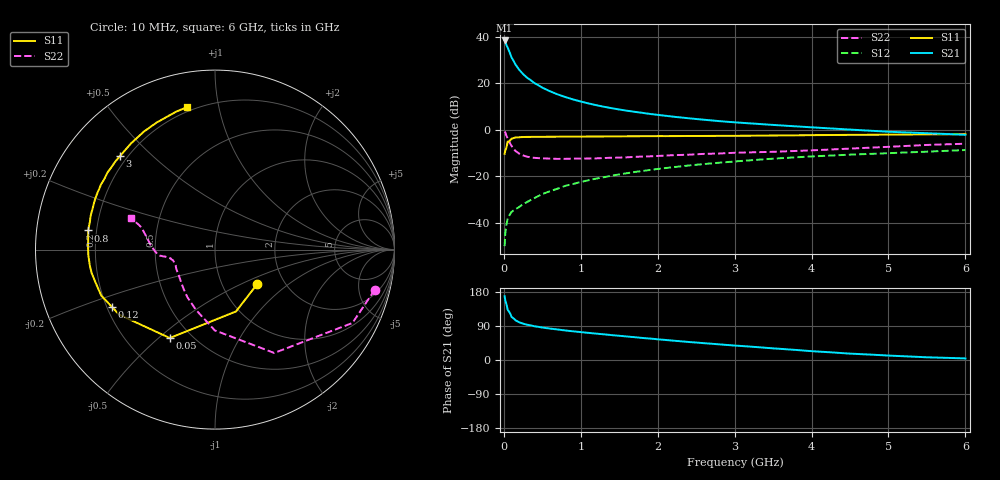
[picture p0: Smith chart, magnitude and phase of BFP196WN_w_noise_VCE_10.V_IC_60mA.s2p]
! Infineon Technologies  Discrete & RF Semiconductors
! BFP196WN
! VCE =  10. V,  IC =  60 mA
! Common Emitter S-Parameters:  Jan 2017
# GHz  S  MA  R  50
!  f  S11  S21  S12  S22
! GHz  MAG  ANG  MAG  ANG  MAG  ANG  MAG  ANG
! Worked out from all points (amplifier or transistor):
!   77 points, 10 MHz to 6 GHz, reference 50 ohm
!   highest |S21| = 38.5 dB at 10 MHz (marker M1)
!   |S21| within 3 dB of that: start of sweep to 47.99 MHz
!   unconditionally stable (mu >= 1): 624.7 MHz to 2.606 GHz
!   at 130 MHz: K = 0.55, MSG = 32.1 dB, |S12| = -34.7 dB
!   at 2.2 GHz: K = 1.02, MAG = 10.0 dB, |S12| = -16.1 dB
!   at 6 GHz: K = 0.90, MSG = 3.3 dB, |S12| = -8.7 dB
!   lowest NFmin = 1.38 dB at 450 MHz
!   S11 on the Smith chart (normalised r, x): 10 MHz: 1.46, -0.62; 50 MHz: 0.38, -0.54; 120 MHz: 0.22, -0.25; 800 MHz: 0.17, +0.07; 3 GHz: 0.17, +0.40; 6 GHz: 0.18, +0.81
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0.01  0.3037 -39.5  84.44 168.2  0.0031 78.2  0.918 -14.1
0.02  0.3638 -71.2  77.38 156.5  0.0062 69.5  0.8681 -28.1
0.05  0.5534 -117.1  58.84 132.4  0.0122 53.1  0.6638 -60.2
0.1  0.6449 -145.8  36.37 113.6  0.017 50.4  0.45 -90.2
0.12  0.6568 -150.8  32.05 110.8  0.018 50.0  0.4061 -96.2
0.15  0.6836 -158.0  25.78 104.9  0.0194 49.5  0.351 -107.8
0.2  0.6908 -164.8  19.7 99.6  0.0217 53.5  0.3067 -120.1
0.25  0.6995 -169.2  15.92 95.9  0.0251 56.0  0.281 -128.4
0.3  0.7029 -172.6  13.36 93.2  0.0276 56.9  0.2632 -135.4
0.4  0.7065 -177.4  10.11 88.9  0.0339 62.5  0.2484 -144.1
0.5  0.7073 179.1  8.11 85.7  0.0411 64.9  0.2429 -150.5
0.6  0.7083 176.3  6.778 82.9  0.0475 66.2  0.2395 -155.0
0.7  0.7108 173.8  5.803 80.5  0.0539 67.7  0.2363 -158.0
0.8  0.7147 171.4  5.086 77.9  0.062 68.7  0.2369 -160.1
1.1  0.7172 165.5  3.706 71.6  0.0817 68.6  0.2407 -165.3
1.5  0.7228 158.6  2.74 63.9  0.1093 67.1  0.2519 -169.1
2.1  0.731 149.0  2.01 52.9  0.1497 63.9  0.2783 -171.8
3  0.7427 135.6  1.45 38.1  0.2076 56.9  0.3199 -175.3
3.1  0.7441 134.1  1.413 36.8  0.2138 56.1  0.323 -176.0
4.1  0.769 119.8  1.107 22.1  0.2715 47.8  0.3669 174.1
5.1  0.789 109.0  0.895 10.8  0.3184 40.3  0.438 162.6
6  0.8084 101.2  0.78 4.2  0.3667 34.4  0.5013 159.7
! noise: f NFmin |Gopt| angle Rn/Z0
0.45  1.38  0.55  -177  0.05
0.9  1.49  0.57  -169  0.06
1.9  2.42  0.69  -147  0.18
2.4  3.19  0.7  -139  0.3
